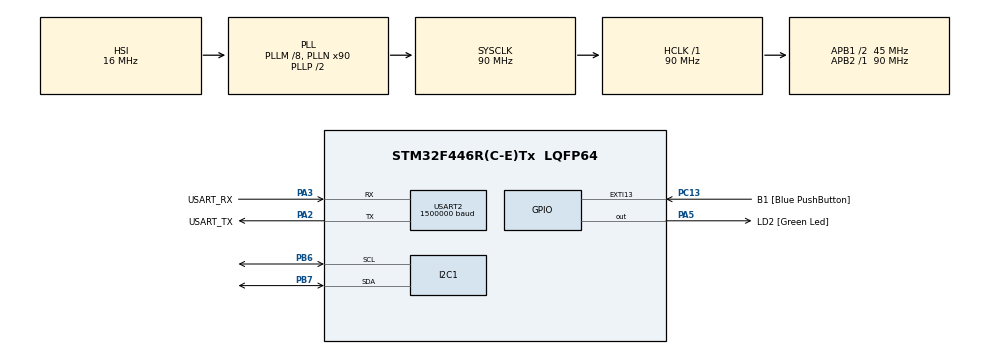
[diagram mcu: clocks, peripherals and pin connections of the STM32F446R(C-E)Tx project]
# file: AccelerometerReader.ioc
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Dma.Request0=USART2_RX
Dma.USART2_RX.0.Direction=DMA_PERIPH_TO_MEMORY
Dma.USART2_RX.0.FIFOMode=DMA_FIFOMODE_DISABLE
Dma.USART2_RX.0.Instance=DMA1_Stream5
Dma.USART2_RX.0.MemDataAlignment=DMA_MDATAALIGN_BYTE
Dma.USART2_RX.0.MemInc=DMA_MINC_ENABLE
Dma.USART2_RX.0.Mode=DMA_CIRCULAR
Dma.USART2_RX.0.PeriphDataAlignment=DMA_PDATAALIGN_BYTE
Dma.USART2_RX.0.PeriphInc=DMA_PINC_DISABLE
Dma.USART2_RX.0.Priority=DMA_PRIORITY_LOW
I2C1.I2C_Mode=I2C_Fast
I2C1.OwnAddress=0x1D
Mcu.Family=STM32F4
Mcu.Name=STM32F446R(C-E)Tx
Mcu.Package=LQFP64
NVIC.DMA1_Stream5_IRQn=true\:0\:0\:false\:false\:true\:false\:true
NVIC.PriorityGroup=NVIC_PRIORITYGROUP_0
NVIC.TIM1_UP_TIM10_IRQn=true\:0\:0\:false\:false\:true\:true\:true
PA13.GPIO_Label=TMS
PA13.Mode=Serial_Wire
PA13.Signal=SYS_JTMS-SWDIO
PA14.GPIO_Label=TCK
PA14.Mode=Serial_Wire
PA14.Signal=SYS_JTCK-SWCLK
PA2.GPIO_Label=USART_TX
PA2.Mode=Asynchronous
PA2.Signal=USART2_TX
PA3.GPIO_Label=USART_RX
PA3.Mode=Asynchronous
PA3.Signal=USART2_RX
PA5.GPIO_Label=LD2 [Green Led]
PA5.Signal=GPIO_Output
PB3.GPIO_Label=SWO
PB3.Signal=SYS_JTDO-SWO
PB6.Mode=I2C
PB6.Signal=I2C1_SCL
PB7.Mode=I2C
PB7.Signal=I2C1_SDA
PC13.GPIO_Label=B1 [Blue PushButton]
PC13.GPIO_ModeDefaultEXTI=GPIO_MODE_IT_FALLING
PC13.Signal=GPXTI13
PC14-OSC32_IN.Mode=LSE-External-Oscillator
PC14-OSC32_IN.Signal=RCC_OSC32_IN
PC15-OSC32_OUT.Mode=LSE-External-Oscillator
PC15-OSC32_OUT.Signal=RCC_OSC32_OUT
PH0-OSC_IN.Mode=HSE-External-Oscillator
PH0-OSC_IN.Signal=RCC_OSC_IN
PH1-OSC_OUT.Mode=HSE-External-Oscillator
PH1-OSC_OUT.Signal=RCC_OSC_OUT
ProjectManager.HeapSize=0x200
ProjectManager.StackSize=0x400
ProjectManager.TargetToolchain=Makefile
RCC.48MHZClocksFreq_Value=84000000
RCC.AHBFreq_Value=90000000
RCC.APB1CLKDivider=RCC_HCLK_DIV2
RCC.APB1Freq_Value=45000000
RCC.APB1TimFreq_Value=90000000
RCC.APB2Freq_Value=90000000
RCC.APB2TimFreq_Value=90000000
RCC.CortexFreq_Value=90000000
RCC.FLatency-AdvancedSettings=FLASH_LATENCY_2
RCC.HCLKFreq_Value=90000000
RCC.HSE_VALUE=8000000
RCC.HSI_VALUE=16000000
RCC.PLLM=8
RCC.PLLN=90
RCC.SYSCLKFreq_VALUE=90000000
RCC.SYSCLKSource=RCC_SYSCLKSOURCE_PLLCLK
RCC.USBFreq_Value=90000000
RCC.VCOOutputFreq_Value=180000000
TIM10.Period=1000-1
TIM10.Prescaler=90-1
USART2.BaudRate=1500000
USART2.OverSampling=UART_OVERSAMPLING_16
USART2.VirtualMode=VM_ASYNC
VP_TIM10_VS_ClockSourceINT.Mode=Enable_Timer
board=NUCLEO-F446RE

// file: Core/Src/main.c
/* USER CODE BEGIN Header */
/**
  ******************************************************************************
  * @file           : main.c
  * @brief          : Main program body
  ******************************************************************************
  * @attention
  *
  * <h2><center>&copy; Copyright (c) 2021 STMicroelectronics.
  * All rights reserved.</center></h2>
  *
  * This software component is licensed by ST under BSD 3-Clause license,
  * the "License"; You may not use this file except in compliance with the
  * License. You may obtain a copy of the License at:
  *                        opensource.org/licenses/BSD-3-Clause
  *
  ******************************************************************************
  */
/* USER CODE END Header */
#include "main.h"
#include "dma.h"
#include "i2c.h"
#include "tim.h"
#include "usart.h"
#include "gpio.h"

/* USER CODE BEGIN Includes */
#include "adxl345.h"
#include <stdio.h>
#include <string.h>
#include <stdbool.h>
/* USER CODE END Includes */

/* USER CODE BEGIN PD */
#define UART2_BUFFER_SIZE 10 //8 Byte of data with a start and a stop byte
#define TRANSMISSION_START 0x02
#define TRANSMISSION_END 0x04

//Commands define (enum too small, only 32 bit)
#define HANDSHAKE 0x0000AA55AA55
#define SET_TIME 0x0000C0FFEE11
#define START_READING 0x0000ABCDDCBA
#define STOP_READING 0x0000DCBAABCD
/* USER CODE END PD */

/* USER CODE BEGIN PV */
uint8_t UART2_rxBuffer[UART2_BUFFER_SIZE];
char message[256];
uint64_t utc_timestamp_ms = 0; //Holds the timestamp of each measurement
bool handshake = false;
bool send = false;
bool setting_time = false;
//enum commands {HANDSHAKE = 0x0000AA55AA55, SET_TIME = 0x0000C0FFEE11, START_READING = 0x0000ABCDDCBA, STOP_READING = 0x0000DCBAABCD};
//enum commands rcv_command;
uint64_t rcv_command = 0;
/* USER CODE END PV */

void SystemClock_Config(void);

int main(void)
{

  /* MCU Configuration--------------------------------------------------------*/

  /* Reset of all peripherals, Initializes the Flash interface and the Systick. */
  HAL_Init();

  /* Configure the system clock */
  SystemClock_Config();

  /* Initialize all configured peripherals */
  MX_GPIO_Init();
  MX_DMA_Init();
  MX_I2C1_Init();
  MX_USART2_UART_Init();
  MX_TIM10_Init();
  /* USER CODE BEGIN 2 */
    //Initialize the DMA callback (will be called when we receive an instruction from the PC on UART)
    HAL_UART_Receive_DMA(&huart2, UART2_rxBuffer, UART2_BUFFER_SIZE);
    HAL_TIM_Base_Start_IT(&htim10);

    setTargetDeviceAddress(&hi2c1, 0x53 << 1);

    HAL_StatusTypeDef status;
    int id = 0;
    Accelerations accelerometerData;

    //Initialize the module
    status = AccelInit(&hi2c1);
    if (status == HAL_OK)
    {
        sprintf(message, "ADXL345 Module has been initialized successfully!\n");
        HAL_UART_Transmit(&huart2, (uint8_t *)&message, 50, 100);
    }
    else
    {
        HAL_UART_Transmit(&huart2, (uint8_t *)"ERROR!\n", 7, 100);
    }

    //Get ID of Accelerometer module (ensures the connection is working correctly)
    status = AccelGetId(&hi2c1, &id);
    if (status == HAL_OK)
    {
        sprintf(message, "ADXL345 ID is : %o\n", id);
        HAL_UART_Transmit(&huart2, (uint8_t *)&message, 20, 100);
    }
    else
    {
        HAL_UART_Transmit(&huart2, (uint8_t *)"ERROR!\n", 7, 100);
    }
  /* USER CODE END 2 */

  /* Infinite loop */
  /* USER CODE BEGIN WHILE */
    while (1)
    {
        if (handshake && send)
        {
            HAL_GPIO_TogglePin(LD2_GPIO_Port, LD2_Pin);
            status = getAccelerations(&hi2c1, &accelerometerData);
            if (status == HAL_OK)
            {
                memset(message, 0, sizeof(message));
                // float xf = (float)accelerometerData.x * 3.9f / 1000.0;
                // float yf = (float)accelerometerData.y * 3.9f / 1000.0;
                // float zf = (float)accelerometerData.z * 3.9f / 1000.0;
                // sprintf(message, "X : %5.5f    Y : %5.5f    Z : %5.5f\n", xf, yf, zf);
                // Add the accelerometer data to the message to send
                message[0] = (accelerometerData.x & 0xFF00) >> 8;
                message[1] = (accelerometerData.x & 0x00FF);
                message[2] = (accelerometerData.y & 0xFF00) >> 8;
                message[3] = (accelerometerData.y & 0x00FF);
                message[4] = (accelerometerData.z & 0xFF00) >> 8;
                message[5] = (accelerometerData.z & 0x00FF);
                for (int i = 0; i < 8; ++i)
                {
                    uint64_t offset = (8 << 3) - ((i + 1) << 3);
                    message[6 + i] = (utc_timestamp_ms & ((uint64_t)0xFF << offset)) >> offset;
                }
                message[14] = 0xAA;
                message[15] = 0x55;
                HAL_UART_Transmit(&huart2, (uint8_t *)message, 16, 100);
            }
            else
            {
                sprintf(message, "Error!\n");
                HAL_UART_Transmit(&huart2, (uint8_t *)message, 7, 100);
            }
        }
        HAL_Delay(1);
    }
    /* USER CODE END WHILE */

}

void SystemClock_Config(void)
{
  RCC_OscInitTypeDef RCC_OscInitStruct = {0};
  RCC_ClkInitTypeDef RCC_ClkInitStruct = {0};

  /** Configure the main internal regulator output voltage
  */
  __HAL_RCC_PWR_CLK_ENABLE();
  __HAL_PWR_VOLTAGESCALING_CONFIG(PWR_REGULATOR_VOLTAGE_SCALE3);
  /** Initializes the RCC Oscillators according to the specified parameters
  * in the RCC_OscInitTypeDef structure.
  */
  RCC_OscInitStruct.OscillatorType = RCC_OSCILLATORTYPE_HSI;
  RCC_OscInitStruct.HSIState = RCC_HSI_ON;
  RCC_OscInitStruct.HSICalibrationValue = RCC_HSICALIBRATION_DEFAULT;
  RCC_OscInitStruct.PLL.PLLState = RCC_PLL_ON;
  RCC_OscInitStruct.PLL.PLLSource = RCC_PLLSOURCE_HSI;
  RCC_OscInitStruct.PLL.PLLM = 8;
  RCC_OscInitStruct.PLL.PLLN = 90;
  RCC_OscInitStruct.PLL.PLLP = RCC_PLLP_DIV2;
  RCC_OscInitStruct.PLL.PLLQ = 2;
  RCC_OscInitStruct.PLL.PLLR = 2;
  if (HAL_RCC_OscConfig(&RCC_OscInitStruct) != HAL_OK)
  {
    Error_Handler();
  }
  /** Initializes the CPU, AHB and APB buses clocks
  */
  RCC_ClkInitStruct.ClockType = RCC_CLOCKTYPE_HCLK|RCC_CLOCKTYPE_SYSCLK
                              |RCC_CLOCKTYPE_PCLK1|RCC_CLOCKTYPE_PCLK2;
  RCC_ClkInitStruct.SYSCLKSource = RCC_SYSCLKSOURCE_PLLCLK;
  RCC_ClkInitStruct.AHBCLKDivider = RCC_SYSCLK_DIV1;
  RCC_ClkInitStruct.APB1CLKDivider = RCC_HCLK_DIV2;
  RCC_ClkInitStruct.APB2CLKDivider = RCC_HCLK_DIV1;

  if (HAL_RCC_ClockConfig(&RCC_ClkInitStruct, FLASH_LATENCY_2) != HAL_OK)
  {
    Error_Handler();
  }
}

/* USER CODE BEGIN 4 */

int modulo(int a, int b)
{
    if (b < 0)
        return modulo(-a, -b);
    const int result = a % b;
    return result >= 0 ? result : result + b;
}

// This function is called when the UART2_rxBuffer gets full
// we can than check it's content to know which command was sent to us
void HAL_UART_RxCpltCallback(UART_HandleTypeDef *huart)
{
    //Find start of command (if we ever miss a byte, this serves as an alignement byte since we use a circular buffer)
    int i = 0;
    for (i = 0; i < UART2_BUFFER_SIZE; ++i)
    {
        if (UART2_rxBuffer[i] == TRANSMISSION_START)
        {
            while (UART2_rxBuffer[modulo(i - 1, UART2_BUFFER_SIZE)] != TRANSMISSION_END)
                ; //Wait for the complete command to get transfered
            i += 1;
            break;
        }
    }
    rcv_command = 0;
    for (int j = 0; j < UART2_BUFFER_SIZE - 2; ++j)
    {
        rcv_command += ((uint64_t)UART2_rxBuffer[modulo(i + j, UART2_BUFFER_SIZE)] << (((UART2_BUFFER_SIZE - 2) << 3) - ((j + 1) << 3)));
    }
    if (setting_time)
    {
        setting_time = false;
        utc_timestamp_ms = rcv_command;
    }
    else
    {
        switch (rcv_command)
        {
        case HANDSHAKE:
            handshake = true;
            break;
        case SET_TIME:
            setting_time = true;
            break;
        case START_READING:
            if (handshake)
                send = true;
            break;
        case STOP_READING:
            if (handshake)
                send = false;
            break;
        default:
            memset(message, 0, sizeof(message));
            sprintf(message, "Error during transmission, received : 0x%08x", rcv_command);
            HAL_UART_Transmit(&huart2, message, 50, 100);
        }
    }
}

void HAL_TIM_PeriodElapsedCallback(TIM_HandleTypeDef *htim)
{
    if(htim == &htim10){
        utc_timestamp_ms++;
    }
}

/* USER CODE END 4 */

void Error_Handler(void)
{
    __disable_irq();
    while (1)
    {
    }
}

/************************ (C) COPYRIGHT STMicroelectronics *****END OF FILE****/
